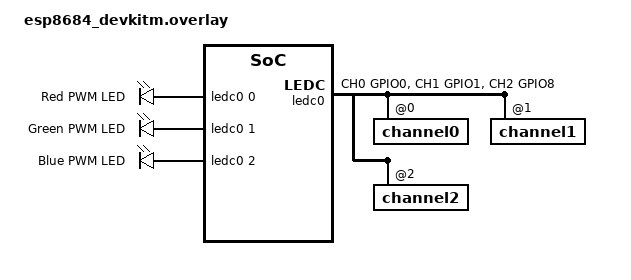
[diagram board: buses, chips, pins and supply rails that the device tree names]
/*
 * Copyright (c) 2024 Espressif Systems (Shanghai) Co., Ltd.
 *
 * SPDX-License-Identifier: Apache-2.0
 */

#include <zephyr/dt-bindings/pwm/pwm.h>
#include <zephyr/dt-bindings/pinctrl/esp32c2-pinctrl.h>

/ {
	pwm_leds: pwm_leds {
		compatible = "pwm-leds";
		status = "okay";

		pwm_led_red: pwm_led_0 {
			label = "Red PWM LED";
			pwms = <&ledc0 0 PWM_HZ(100) PWM_POLARITY_NORMAL>;
		};

		pwm_led_green: pwm_led_1 {
			label = "Green PWM LED";
			pwms = <&ledc0 1 PWM_HZ(100) PWM_POLARITY_NORMAL>;
		};

		pwm_led_blue: pwm_led_2 {
			label = "Blue PWM LED";
			pwms = <&ledc0 2 PWM_HZ(100) PWM_POLARITY_NORMAL>;
		};
	};

	aliases {
		red-pwm-led = &pwm_led_red;
		green-pwm-led = &pwm_led_green;
		blue-pwm-led = &pwm_led_blue;
	};
};

&pinctrl {
	ledc0_default: ledc0_default {
		group1 {
			pinmux = <LEDC_CH0_GPIO0>,
				 <LEDC_CH1_GPIO1>,
				 <LEDC_CH2_GPIO8>;
		};
	};
};

&ledc0 {
	pinctrl-0 = <&ledc0_default>;
	pinctrl-names = "default";
	status = "okay";
	#address-cells = <1>;
	#size-cells = <0>;

	channel0@0 {
		reg = <0x0>;
		timer = <0>;
	};

	channel1@1 {
		reg = <0x1>;
		timer = <0>;
	};

	channel2@2 {
		reg = <0x2>;
		timer = <0>;
	};
};
